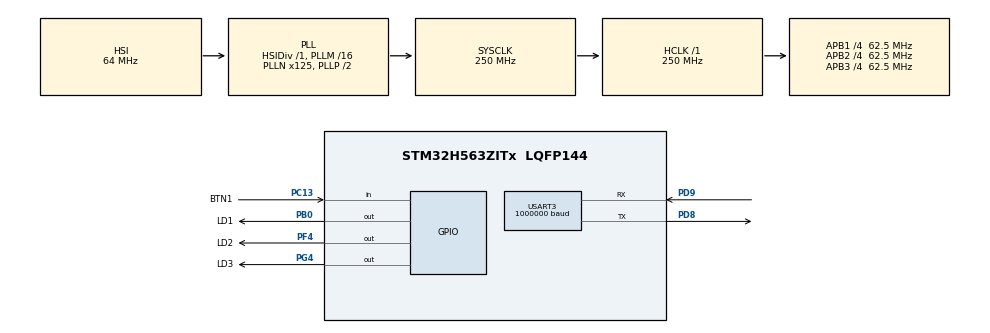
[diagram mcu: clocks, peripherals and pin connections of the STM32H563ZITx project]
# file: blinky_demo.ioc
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CORTEX_M33_NS.Number-Cortex_Memory_Protection_Unit_Region0_OTP_RO_AREAS_Settings=MPU_REGION_NUMBER0
CORTEX_M33_NS.default_mode_Activation=1
CORTEX_M33_NS.userName=CORTEX_M33
Mcu.Family=STM32H5
Mcu.Name=STM32H563ZITx
Mcu.Package=LQFP144
NVIC.PriorityGroup=NVIC_PRIORITYGROUP_4
NVIC.USART3_IRQn=true\:0\:0\:false\:false\:true\:true\:true\:true
PB0.GPIO_Label=LD1
PB0.Signal=GPIO_Output
PD8.Mode=Asynchronous
PD8.Signal=USART3_TX
PD9.Mode=Asynchronous
PD9.Signal=USART3_RX
PF4.GPIO_Label=LD2
PF4.Signal=GPIO_Output
PG4.GPIO_Label=LD3
PG4.Signal=GPIO_Output
ProjectManager.HeapSize=0x0
ProjectManager.StackSize=0x10000
ProjectManager.TargetToolchain=CMake
RCC.ADCFreq_Value=250000000
RCC.AHBFreq_Value=250000000
RCC.APB1CLKDivider=RCC_HCLK_DIV4
RCC.APB1Freq_Value=62500000
RCC.APB1TimFreq_Value=125000000
RCC.APB2CLKDivider=RCC_HCLK_DIV4
RCC.APB2Freq_Value=62500000
RCC.APB2TimFreq_Value=125000000
RCC.APB3CLKDivider=RCC_HCLK_DIV4
RCC.APB3Freq_Value=62500000
RCC.CSI_VALUE=4000000
RCC.CortexFreq_Value=250000000
RCC.EPOD_VALUE=25000000
RCC.HCLKFreq_Value=250000000
RCC.HSE_VALUE=25000000
RCC.HSI48_VALUE=48000000
RCC.HSI_VALUE=64000000
RCC.LSE_VALUE=32768
RCC.LSIRC_VALUE=32000
RCC.PLL2M=2
RCC.PLL2N=12
RCC.PLL2Source=RCC_PLL2_SOURCE_HSE
RCC.PLL3M=2
RCC.PLL3N=12
RCC.PLL3Source=RCC_PLL3_SOURCE_HSE
RCC.PLLM=16
RCC.PLLN=125
RCC.PLLSourceVirtual=RCC_PLL1_SOURCE_HSI
RCC.SYSCLKFreq_VALUE=250000000
RCC.SYSCLKSource=RCC_SYSCLKSOURCE_PLLCLK
RCC.USBFreq_Value=48000000
RCC.VCOOutputFreq_Value=500000000
USART3.BaudRate=1000000
USART3.VirtualMode-Asynchronous=VM_ASYNC
VP_BOOTPATH_VS_BOOTPATH.Mode=BP_Activate
VP_CORTEX_M33_NS_VS_Hclk.Mode=Hclk_Mode
VP_ICACHE_VS_ICACHE.Mode=DirectMappedCache
VP_MEMORYMAP_VS_MEMORYMAP.Mode=CurAppReg
VP_PWR_VS_LPOM.Mode=PowerOptimisation
VP_PWR_VS_SECSignals.Mode=Security/Privilege
board=custom
GPDMA1.DIRECTION_GPDMACH0=DMA_MEMORY_TO_PERIPH
GPDMA1.IPHANDLE_GPDMACH0-SIMPLEREQUEST_GPDMACH0=__NULL
GPDMA1.REQUEST_GPDMACH0=GPDMA1_REQUEST_USART3_TX
GPDMA1.SRCINC_GPDMACH0=DMA_SINC_INCREMENTED
NVIC.GPDMA1_Channel0_IRQn=true\:5\:0\:false\:false\:true\:true\:false\:true\:true
PC13.GPIO_Label=BTN1
PC13.Signal=GPIO_Input
VP_GPDMA1_VS_GPDMACH0.Mode=SIMPLEREQUEST_GPDMACH0

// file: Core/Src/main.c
/* USER CODE BEGIN Header */
/**
  ******************************************************************************
  * @file           : main.c
  * @brief          : Main program body
  ******************************************************************************
  * @attention
  *
  * Copyright (c) 2026 STMicroelectronics.
  * All rights reserved.
  *
  * This software is licensed under terms that can be found in the LICENSE file
  * in the root directory of this software component.
  * If no LICENSE file comes with this software, it is provided AS-IS.
  *
  ******************************************************************************
  */
/* USER CODE END Header */
#include "main.h"

/* USER CODE BEGIN Includes */
#include "appmain.h"

/* USER CODE END Includes */

UART_HandleTypeDef huart3;

void SystemClock_Config(void);
static void MPU_Config(void);
static void MX_GPIO_Init(void);
static void MX_GPDMA1_Init(void);
static void MX_ICACHE_Init(void);
static void MX_USART3_UART_Init(void);

/* USER CODE BEGIN 0 */
/* Optional application hooks; constructors have completed, HAL has not. */
__attribute__((weak)) void app_early_init(void) {}
__attribute__((weak)) void app_init_failed(void) {}

/* USER CODE END 0 */

int main(void)
{

  /* USER CODE BEGIN 1 */
  /* Route configurable faults to their own frame-capturing handlers. */
  SCB->SHCSR |= SCB_SHCSR_MEMFAULTENA_Msk | SCB_SHCSR_BUSFAULTENA_Msk |
                SCB_SHCSR_USGFAULTENA_Msk;
  __DSB();
  __ISB();
  app_early_init();

  /* USER CODE END 1 */

  /* MCU Configuration--------------------------------------------------------*/

  /* MPU Configuration--------------------------------------------------------*/
  MPU_Config();

  /* Reset of all peripherals, Initializes the Flash interface and the Systick. */
  HAL_Init();

  /* Configure the system clock */
  SystemClock_Config();

  /* Initialize all configured peripherals */
  MX_GPIO_Init();
  MX_ICACHE_Init();
  MX_GPDMA1_Init();
  MX_USART3_UART_Init();
  /* USER CODE BEGIN 2 */
  appmain();

  /* USER CODE END 2 */

  /* Infinite loop */
  while (1)
  {

  }
}

void SystemClock_Config(void)
{
  RCC_OscInitTypeDef RCC_OscInitStruct = {0};
  RCC_ClkInitTypeDef RCC_ClkInitStruct = {0};

  /** Configure the main internal regulator output voltage
  */
  __HAL_PWR_VOLTAGESCALING_CONFIG(PWR_REGULATOR_VOLTAGE_SCALE0);

  while(!__HAL_PWR_GET_FLAG(PWR_FLAG_VOSRDY)) {}

  /** Initializes the RCC Oscillators according to the specified parameters
  * in the RCC_OscInitTypeDef structure.
  */
  RCC_OscInitStruct.OscillatorType = RCC_OSCILLATORTYPE_HSI;
  RCC_OscInitStruct.HSIState = RCC_HSI_ON;
  RCC_OscInitStruct.HSIDiv = RCC_HSI_DIV1;
  RCC_OscInitStruct.HSICalibrationValue = RCC_HSICALIBRATION_DEFAULT;
  RCC_OscInitStruct.PLL.PLLState = RCC_PLL_ON;
  RCC_OscInitStruct.PLL.PLLSource = RCC_PLL1_SOURCE_HSI;
  RCC_OscInitStruct.PLL.PLLM = 16;
  RCC_OscInitStruct.PLL.PLLN = 125;
  RCC_OscInitStruct.PLL.PLLP = 2;
  RCC_OscInitStruct.PLL.PLLQ = 2;
  RCC_OscInitStruct.PLL.PLLR = 2;
  RCC_OscInitStruct.PLL.PLLRGE = RCC_PLL1_VCIRANGE_2;
  RCC_OscInitStruct.PLL.PLLVCOSEL = RCC_PLL1_VCORANGE_WIDE;
  RCC_OscInitStruct.PLL.PLLFRACN = 0;
  if (HAL_RCC_OscConfig(&RCC_OscInitStruct) != HAL_OK)
  {
    Error_Handler();
  }

  /** Initializes the CPU, AHB and APB buses clocks
  */
  RCC_ClkInitStruct.ClockType = RCC_CLOCKTYPE_HCLK|RCC_CLOCKTYPE_SYSCLK
                              |RCC_CLOCKTYPE_PCLK1|RCC_CLOCKTYPE_PCLK2
                              |RCC_CLOCKTYPE_PCLK3;
  RCC_ClkInitStruct.SYSCLKSource = RCC_SYSCLKSOURCE_PLLCLK;
  RCC_ClkInitStruct.AHBCLKDivider = RCC_SYSCLK_DIV1;
  RCC_ClkInitStruct.APB1CLKDivider = RCC_HCLK_DIV4;
  RCC_ClkInitStruct.APB2CLKDivider = RCC_HCLK_DIV4;
  RCC_ClkInitStruct.APB3CLKDivider = RCC_HCLK_DIV4;

  if (HAL_RCC_ClockConfig(&RCC_ClkInitStruct, FLASH_LATENCY_5) != HAL_OK)
  {
    Error_Handler();
  }

  /** Configure the programming delay
  */
  __HAL_FLASH_SET_PROGRAM_DELAY(FLASH_PROGRAMMING_DELAY_2);
}

static void MX_ICACHE_Init(void)
{

  /** Enable instruction cache in 1-way (direct mapped cache)
  */
  if (HAL_ICACHE_ConfigAssociativityMode(ICACHE_1WAY) != HAL_OK)
  {
    Error_Handler();
  }
  if (HAL_ICACHE_Enable() != HAL_OK)
  {
    Error_Handler();
  }

}

static void MX_USART3_UART_Init(void)
{

  huart3.Instance = USART3;
  huart3.Init.BaudRate = 1000000;
  huart3.Init.WordLength = UART_WORDLENGTH_8B;
  huart3.Init.StopBits = UART_STOPBITS_1;
  huart3.Init.Parity = UART_PARITY_NONE;
  huart3.Init.Mode = UART_MODE_TX_RX;
  huart3.Init.HwFlowCtl = UART_HWCONTROL_NONE;
  huart3.Init.OverSampling = UART_OVERSAMPLING_16;
  huart3.Init.OneBitSampling = UART_ONE_BIT_SAMPLE_DISABLE;
  huart3.Init.ClockPrescaler = UART_PRESCALER_DIV1;
  huart3.AdvancedInit.AdvFeatureInit = UART_ADVFEATURE_NO_INIT;
  if (HAL_UART_Init(&huart3) != HAL_OK)
  {
    Error_Handler();
  }
  if (HAL_UARTEx_SetTxFifoThreshold(&huart3, UART_TXFIFO_THRESHOLD_1_8) != HAL_OK)
  {
    Error_Handler();
  }
  if (HAL_UARTEx_SetRxFifoThreshold(&huart3, UART_RXFIFO_THRESHOLD_1_8) != HAL_OK)
  {
    Error_Handler();
  }
  if (HAL_UARTEx_DisableFifoMode(&huart3) != HAL_OK)
  {
    Error_Handler();
  }

}

static void MX_GPIO_Init(void)
{
  GPIO_InitTypeDef GPIO_InitStruct = {0};

  /* GPIO Ports Clock Enable */
  __HAL_RCC_GPIOC_CLK_ENABLE();
  __HAL_RCC_GPIOF_CLK_ENABLE();
  __HAL_RCC_GPIOH_CLK_ENABLE();
  __HAL_RCC_GPIOB_CLK_ENABLE();
  __HAL_RCC_GPIOD_CLK_ENABLE();
  __HAL_RCC_GPIOG_CLK_ENABLE();

  /*Configure GPIO pin Output Level */
  HAL_GPIO_WritePin(LD2_GPIO_Port, LD2_Pin, GPIO_PIN_RESET);

  /*Configure GPIO pin Output Level */
  HAL_GPIO_WritePin(LD1_GPIO_Port, LD1_Pin, GPIO_PIN_RESET);

  /*Configure GPIO pin Output Level */
  HAL_GPIO_WritePin(LD3_GPIO_Port, LD3_Pin, GPIO_PIN_RESET);

  /*Configure GPIO pin : LD2_Pin */
  GPIO_InitStruct.Pin = LD2_Pin;
  GPIO_InitStruct.Mode = GPIO_MODE_OUTPUT_PP;
  GPIO_InitStruct.Pull = GPIO_NOPULL;
  GPIO_InitStruct.Speed = GPIO_SPEED_FREQ_LOW;
  HAL_GPIO_Init(LD2_GPIO_Port, &GPIO_InitStruct);

  /*Configure GPIO pin : LD1_Pin */
  GPIO_InitStruct.Pin = LD1_Pin;
  GPIO_InitStruct.Mode = GPIO_MODE_OUTPUT_PP;
  GPIO_InitStruct.Pull = GPIO_NOPULL;
  GPIO_InitStruct.Speed = GPIO_SPEED_FREQ_LOW;
  HAL_GPIO_Init(LD1_GPIO_Port, &GPIO_InitStruct);

  /*Configure GPIO pin : LD3_Pin */
  GPIO_InitStruct.Pin = LD3_Pin;
  GPIO_InitStruct.Mode = GPIO_MODE_OUTPUT_PP;
  GPIO_InitStruct.Pull = GPIO_NOPULL;
  GPIO_InitStruct.Speed = GPIO_SPEED_FREQ_LOW;
  HAL_GPIO_Init(LD3_GPIO_Port, &GPIO_InitStruct);

  GPIO_InitStruct.Pin = BTN1_Pin;
  GPIO_InitStruct.Mode = GPIO_MODE_INPUT;
  GPIO_InitStruct.Pull = GPIO_NOPULL;
  HAL_GPIO_Init(BTN1_GPIO_Port, &GPIO_InitStruct);

}

static void MX_GPDMA1_Init(void) {
  __HAL_RCC_GPDMA1_CLK_ENABLE();
  HAL_NVIC_SetPriority(GPDMA1_Channel0_IRQn, 5, 0);
  HAL_NVIC_EnableIRQ(GPDMA1_Channel0_IRQn);
  /* USER CODE BEGIN GPDMA1_Init 1 */
  __HAL_RCC_GPDMA1_CLK_SLEEP_ENABLE();
  __HAL_RCC_SRAM1_CLK_SLEEP_ENABLE();
  __HAL_RCC_SRAM2_CLK_SLEEP_ENABLE();
  __HAL_RCC_SRAM3_CLK_SLEEP_ENABLE();
  /* USER CODE END GPDMA1_Init 1 */
}

 /* MPU Configuration */

void MPU_Config(void)
{
  MPU_Region_InitTypeDef MPU_InitStruct = {0};
  MPU_Attributes_InitTypeDef MPU_AttributesInit = {0};

  /* Disables the MPU */
  HAL_MPU_Disable();

  /** Initializes and configures the Region 0 and the memory to be protected
  */
  MPU_InitStruct.Enable = MPU_REGION_ENABLE;
  MPU_InitStruct.Number = MPU_REGION_NUMBER0;
  MPU_InitStruct.BaseAddress = 0x08FFF000;
  MPU_InitStruct.LimitAddress = 0x08FFFFFF;
  MPU_InitStruct.AttributesIndex = MPU_ATTRIBUTES_NUMBER0;
  MPU_InitStruct.AccessPermission = MPU_REGION_ALL_RO;
  MPU_InitStruct.DisableExec = MPU_INSTRUCTION_ACCESS_DISABLE;
  MPU_InitStruct.IsShareable = MPU_ACCESS_NOT_SHAREABLE;

  HAL_MPU_ConfigRegion(&MPU_InitStruct);

  /** Initializes and configures the Attribute 0 and the memory to be protected
  */
  MPU_AttributesInit.Number = MPU_ATTRIBUTES_NUMBER0;
  MPU_AttributesInit.Attributes = INNER_OUTER(MPU_NOT_CACHEABLE);

  HAL_MPU_ConfigMemoryAttributes(&MPU_AttributesInit);
  /* Enables the MPU */
  HAL_MPU_Enable(MPU_PRIVILEGED_DEFAULT);

}

void Error_Handler(void)
{
  /* USER CODE BEGIN Error_Handler_Debug */
  app_init_failed();
  NVIC_SystemReset();
  /* User can add his own implementation to report the HAL error return state */
  __disable_irq();
  while (1)
  {
  }
  /* USER CODE END Error_Handler_Debug */
}
